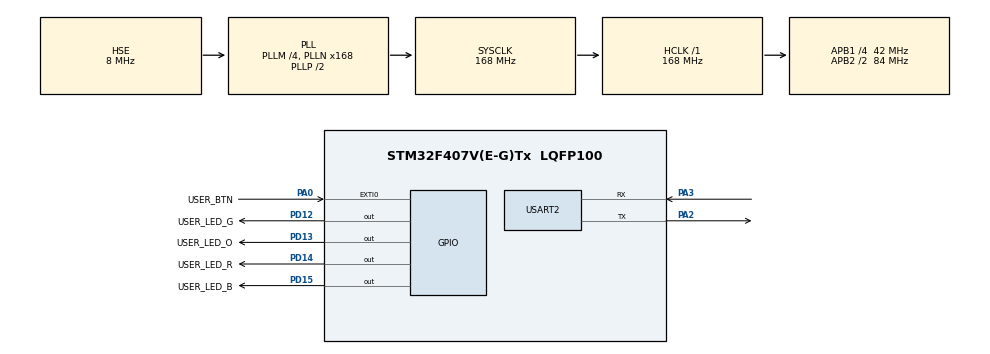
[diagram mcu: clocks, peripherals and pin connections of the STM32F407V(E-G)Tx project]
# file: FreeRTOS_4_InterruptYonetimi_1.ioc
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FREERTOS.CountingSemaphores01=xCountingSemaphore,3,Dynamic,NULL
FREERTOS.Tasks01=PeriodicTask,0,128,vPeriodicTask,Default,NULL,Dynamic,NULL,NULL;HandlerTask,1,128,HandlerFunction,Default,NULL,Dynamic,NULL,NULL
FREERTOS.configUSE_COUNTING_SEMAPHORES=1
Mcu.Family=STM32F4
Mcu.Name=STM32F407V(E-G)Tx
Mcu.Package=LQFP100
NVIC.EXTI0_IRQn=true\:5\:0\:true\:false\:false\:false\:true\:false
NVIC.PriorityGroup=NVIC_PRIORITYGROUP_4
NVIC.TIM1_UP_TIM10_IRQn=true\:0\:0\:false\:false\:true\:false\:false\:true
NVIC.TimeBase=TIM1_UP_TIM10_IRQn
NVIC.TimeBaseIP=TIM1
PA0-WKUP.GPIO_Label=USER_BTN
PA0-WKUP.GPIO_PuPd=GPIO_PULLDOWN
PA0-WKUP.Signal=GPXTI0
PA2.Mode=Asynchronous
PA2.Signal=USART2_TX
PA3.Mode=Asynchronous
PA3.Signal=USART2_RX
PD12.GPIO_Label=USER_LED_G
PD12.Signal=GPIO_Output
PD13.GPIO_Label=USER_LED_O
PD13.Signal=GPIO_Output
PD14.GPIO_Label=USER_LED_R
PD14.Signal=GPIO_Output
PD15.GPIO_Label=USER_LED_B
PD15.Signal=GPIO_Output
PH0-OSC_IN.Mode=HSE-External-Oscillator
PH0-OSC_IN.Signal=RCC_OSC_IN
PH1-OSC_OUT.Mode=HSE-External-Oscillator
PH1-OSC_OUT.Signal=RCC_OSC_OUT
ProjectManager.HeapSize=0x200
ProjectManager.StackSize=0x400
ProjectManager.TargetToolchain=STM32CubeIDE
RCC.48MHZClocksFreq_Value=84000000
RCC.AHBFreq_Value=168000000
RCC.APB1CLKDivider=RCC_HCLK_DIV4
RCC.APB1Freq_Value=42000000
RCC.APB1TimFreq_Value=84000000
RCC.APB2CLKDivider=RCC_HCLK_DIV2
RCC.APB2Freq_Value=84000000
RCC.APB2TimFreq_Value=168000000
RCC.CortexFreq_Value=168000000
RCC.HCLKFreq_Value=168000000
RCC.HSE_VALUE=8000000
RCC.HSI_VALUE=16000000
RCC.LSE_VALUE=32768
RCC.PLLM=4
RCC.PLLN=168
RCC.PLLSourceVirtual=RCC_PLLSOURCE_HSE
RCC.SYSCLKFreq_VALUE=168000000
RCC.SYSCLKSource=RCC_SYSCLKSOURCE_PLLCLK
RCC.VCOOutputFreq_Value=336000000
USART2.VirtualMode=VM_ASYNC
VP_FREERTOS_VS_CMSIS_V1.Mode=CMSIS_V1
VP_SYS_VS_tim1.Mode=TIM1
board=custom

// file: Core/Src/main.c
/* USER CODE BEGIN Header */
/**
  ******************************************************************************
  * @file           : main.c
  * @brief          : Main program body
  ******************************************************************************
  * @attention
  *
  * <h2><center>&copy; Copyright (c) 2020 STMicroelectronics.
  * All rights reserved.</center></h2>
  *
  * This software component is licensed by ST under BSD 3-Clause license,
  * the "License"; You may not use this file except in compliance with the
  * License. You may obtain a copy of the License at:
  *                        opensource.org/licenses/BSD-3-Clause
  *
  ******************************************************************************
  */
/* USER CODE END Header */
#include "main.h"
#include "cmsis_os.h"

/* USER CODE BEGIN Includes */
#include "string.h"
#include "stdio.h"
/* USER CODE END Includes */

UART_HandleTypeDef huart2;

osThreadId PeriodicTaskHandle;
osThreadId HandlerTaskHandle;
osSemaphoreId xCountingSemaphoreHandle;

void SystemClock_Config(void);
static void MX_GPIO_Init(void);
static void MX_USART2_UART_Init(void);
void vPeriodicTask(void const * argument);
void HandlerFunction(void const * argument);

/* USER CODE BEGIN PFP */
void UartPrint(char* message);
/* USER CODE END PFP */

int main(void)
{

  /* MCU Configuration--------------------------------------------------------*/

  /* Reset of all peripherals, Initializes the Flash interface and the Systick. */
  HAL_Init();

  /* Configure the system clock */
  SystemClock_Config();

  /* Initialize all configured peripherals */
  MX_GPIO_Init();
  MX_USART2_UART_Init();

  /* Create the semaphores(s) */
  /* definition and creation of xCountingSemaphore */
  osSemaphoreDef(xCountingSemaphore);
  xCountingSemaphoreHandle = osSemaphoreCreate(osSemaphore(xCountingSemaphore), 3);

  /* USER CODE BEGIN RTOS_SEMAPHORES */

   // FreeRTOS API ile bu sekilde kullanilmaktadir.
   // SemaphoreHandle_t _xCountingSemaphore = xSemaphoreCreateCounting(2,0);

  /* add semaphores, ... */
  /* USER CODE END RTOS_SEMAPHORES */

  /* Create the thread(s) */
  /* definition and creation of PeriodicTask */
  osThreadDef(PeriodicTask, vPeriodicTask, osPriorityNormal, 0, 128);
  PeriodicTaskHandle = osThreadCreate(osThread(PeriodicTask), NULL);

  /* definition and creation of HandlerTask */
  osThreadDef(HandlerTask, HandlerFunction, osPriorityAboveNormal, 0, 128);
  HandlerTaskHandle = osThreadCreate(osThread(HandlerTask), NULL);

  /* Start scheduler */
  osKernelStart();

  /* We should never get here as control is now taken by the scheduler */
  /* Infinite loop */
  while (1)
  {

  }
}

void SystemClock_Config(void)
{
  RCC_OscInitTypeDef RCC_OscInitStruct = {0};
  RCC_ClkInitTypeDef RCC_ClkInitStruct = {0};

  /** Configure the main internal regulator output voltage
  */
  __HAL_RCC_PWR_CLK_ENABLE();
  __HAL_PWR_VOLTAGESCALING_CONFIG(PWR_REGULATOR_VOLTAGE_SCALE1);
  /** Initializes the RCC Oscillators according to the specified parameters
  * in the RCC_OscInitTypeDef structure.
  */
  RCC_OscInitStruct.OscillatorType = RCC_OSCILLATORTYPE_HSE;
  RCC_OscInitStruct.HSEState = RCC_HSE_ON;
  RCC_OscInitStruct.PLL.PLLState = RCC_PLL_ON;
  RCC_OscInitStruct.PLL.PLLSource = RCC_PLLSOURCE_HSE;
  RCC_OscInitStruct.PLL.PLLM = 4;
  RCC_OscInitStruct.PLL.PLLN = 168;
  RCC_OscInitStruct.PLL.PLLP = RCC_PLLP_DIV2;
  RCC_OscInitStruct.PLL.PLLQ = 4;
  if (HAL_RCC_OscConfig(&RCC_OscInitStruct) != HAL_OK)
  {
    Error_Handler();
  }
  /** Initializes the CPU, AHB and APB buses clocks
  */
  RCC_ClkInitStruct.ClockType = RCC_CLOCKTYPE_HCLK|RCC_CLOCKTYPE_SYSCLK
                              |RCC_CLOCKTYPE_PCLK1|RCC_CLOCKTYPE_PCLK2;
  RCC_ClkInitStruct.SYSCLKSource = RCC_SYSCLKSOURCE_PLLCLK;
  RCC_ClkInitStruct.AHBCLKDivider = RCC_SYSCLK_DIV1;
  RCC_ClkInitStruct.APB1CLKDivider = RCC_HCLK_DIV4;
  RCC_ClkInitStruct.APB2CLKDivider = RCC_HCLK_DIV2;

  if (HAL_RCC_ClockConfig(&RCC_ClkInitStruct, FLASH_LATENCY_5) != HAL_OK)
  {
    Error_Handler();
  }
}

static void MX_USART2_UART_Init(void)
{

  huart2.Instance = USART2;
  huart2.Init.BaudRate = 115200;
  huart2.Init.WordLength = UART_WORDLENGTH_8B;
  huart2.Init.StopBits = UART_STOPBITS_1;
  huart2.Init.Parity = UART_PARITY_NONE;
  huart2.Init.Mode = UART_MODE_TX_RX;
  huart2.Init.HwFlowCtl = UART_HWCONTROL_NONE;
  huart2.Init.OverSampling = UART_OVERSAMPLING_16;
  if (HAL_UART_Init(&huart2) != HAL_OK)
  {
    Error_Handler();
  }

}

static void MX_GPIO_Init(void)
{
  GPIO_InitTypeDef GPIO_InitStruct = {0};

  /* GPIO Ports Clock Enable */
  __HAL_RCC_GPIOH_CLK_ENABLE();
  __HAL_RCC_GPIOA_CLK_ENABLE();
  __HAL_RCC_GPIOD_CLK_ENABLE();

  /*Configure GPIO pin Output Level */
  HAL_GPIO_WritePin(GPIOD, USER_LED_G_Pin|USER_LED_O_Pin|USER_LED_R_Pin|USER_LED_B_Pin, GPIO_PIN_RESET);

  /*Configure GPIO pin : USER_BTN_Pin */
  GPIO_InitStruct.Pin = USER_BTN_Pin;
  GPIO_InitStruct.Mode = GPIO_MODE_IT_RISING;
  GPIO_InitStruct.Pull = GPIO_PULLDOWN;
  HAL_GPIO_Init(USER_BTN_GPIO_Port, &GPIO_InitStruct);

  /*Configure GPIO pins : USER_LED_G_Pin USER_LED_O_Pin USER_LED_R_Pin USER_LED_B_Pin */
  GPIO_InitStruct.Pin = USER_LED_G_Pin|USER_LED_O_Pin|USER_LED_R_Pin|USER_LED_B_Pin;
  GPIO_InitStruct.Mode = GPIO_MODE_OUTPUT_PP;
  GPIO_InitStruct.Pull = GPIO_NOPULL;
  GPIO_InitStruct.Speed = GPIO_SPEED_FREQ_LOW;
  HAL_GPIO_Init(GPIOD, &GPIO_InitStruct);

  /* EXTI interrupt init*/
  HAL_NVIC_SetPriority(EXTI0_IRQn, 5, 0);
  HAL_NVIC_EnableIRQ(EXTI0_IRQn);

}

/* USER CODE BEGIN 4 */

void EXTI0_IRQHandler(void)
{
	if(__HAL_GPIO_EXTI_GET_IT(GPIO_PIN_0) != 0)
	{
		BaseType_t xHigherPriorityTaskWoken = pdFALSE;

		UartPrint("ISR is running...\r\n");

//		xSemaphoreGiveFromISR(xCountingSemaphoreHandle,&xHigherPriorityTaskWoken);
		osSemaphoreRelease(xCountingSemaphoreHandle);
		xSemaphoreGiveFromISR(xCountingSemaphoreHandle,&xHigherPriorityTaskWoken);
		xSemaphoreGiveFromISR(xCountingSemaphoreHandle,&xHigherPriorityTaskWoken);

		__HAL_GPIO_EXTI_CLEAR_IT(GPIO_PIN_0);
		portYIELD_FROM_ISR( xHigherPriorityTaskWoken );
	}

}

void UartPrint(char* message)
{
	HAL_UART_Transmit(&huart2, (uint8_t*)message, strlen(message), 20);
}

/* USER CODE END 4 */

void vPeriodicTask(void const * argument)
{
  /* USER CODE BEGIN 5 */
  /* Infinite loop */
  for(;;)
  {
	  UartPrint("Periodic task processing...\r\n");
	  HAL_GPIO_TogglePin(USER_LED_O_GPIO_Port, USER_LED_O_Pin);
	  vTaskDelay(pdMS_TO_TICKS(1000));

//	  osDelay(1000);

  }
  /* USER CODE END 5 */
}

void HandlerFunction(void const * argument)
{
  /* USER CODE BEGIN HandlerFunction */
  /* Infinite loop */
  for(;;)
  {
	  if(osSemaphoreWait(xCountingSemaphoreHandle, portMAX_DELAY) == osOK)
	  {
//		  uint32_t count = osSemaphoreGetCount(xCountingSemaphoreHandle);
		  uint32_t count = uxSemaphoreGetCount(xCountingSemaphoreHandle);

		  char msg[50];
		  snprintf(msg,sizeof(msg), "You are in Handler Function : %lu\r\n",count);
		  UartPrint(msg);
	  }

  }
  /* USER CODE END HandlerFunction */
}

void HAL_TIM_PeriodElapsedCallback(TIM_HandleTypeDef *htim)
{
  if (htim->Instance == TIM1) {
    HAL_IncTick();
  }
}

void Error_Handler(void)
{
}

/************************ (C) COPYRIGHT STMicroelectronics *****END OF FILE****/
